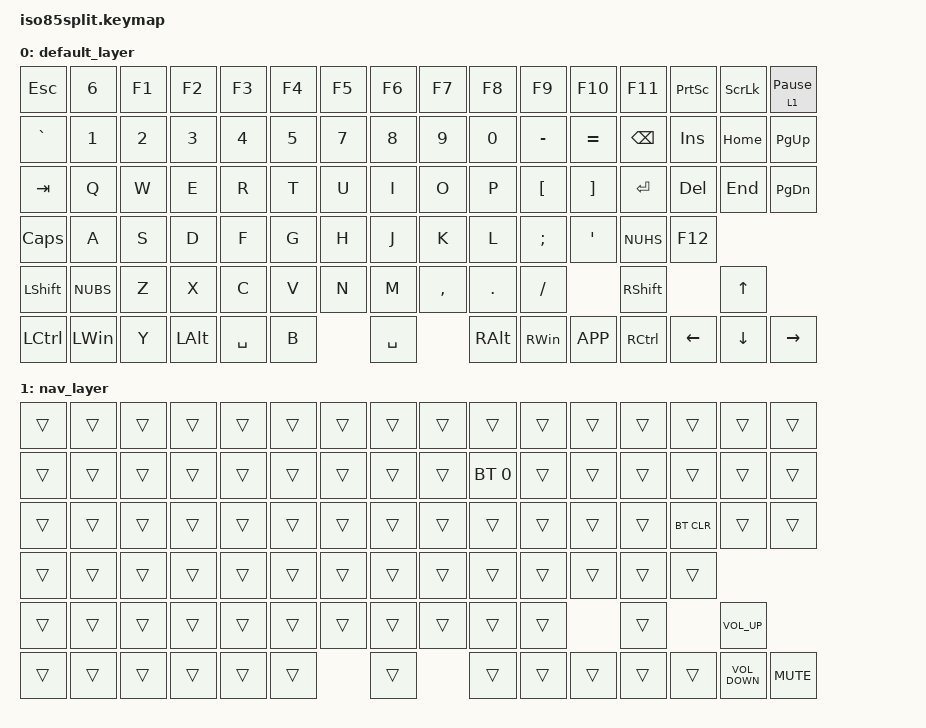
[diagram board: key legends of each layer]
#include <behaviors.dtsi>
#include <dt-bindings/zmk/bt.h>
#include <dt-bindings/zmk/keys.h>

&lt { tapping-term-ms = <500>; };

/ {
    keymap {
        compatible = "zmk,keymap";

        default_layer {
            bindings = <
&kp ESC           &kp NUMBER_6  &kp F1        &kp F2        &kp F3        &kp F4          &kp F5        &kp F6        &kp F7        &kp F8         &kp F9            &kp F10            &kp F11            &kp PRINTSCREEN  &kp SCROLLLOCK  &lt 1 PAUSE_BREAK
&kp GRAVE         &kp NUMBER_1  &kp NUMBER_2  &kp NUMBER_3  &kp NUMBER_4  &kp NUMBER_5    &kp NUMBER_7  &kp NUMBER_8  &kp NUMBER_9  &kp NUMBER_0   &kp MINUS         &kp EQUAL          &kp BSPC           &kp INS          &kp HOME        &kp PG_UP
&kp TAB           &kp Q         &kp W         &kp E         &kp R         &kp T           &kp U         &kp I         &kp O         &kp P          &kp LEFT_BRACKET  &kp RIGHT_BRACKET  &kp ENTER          &kp DEL          &kp END         &kp PG_DN
&kp CAPS          &kp A         &kp S         &kp D         &kp F         &kp G           &kp H         &kp J         &kp K         &kp L          &kp SEMICOLON     &kp SINGLE_QUOTE   &kp NUHS           &kp F12
&kp LEFT_SHIFT    &kp NUBS      &kp Z         &kp X         &kp C         &kp V           &kp N         &kp M         &kp COMMA     &kp DOT        &kp SLASH                            &kp RSHFT                           &kp UP
&kp LEFT_CONTROL  &kp LWIN      &kp Y         &kp LEFT_ALT  &kp SPACE     &kp B                         &kp SPACE                   &kp RIGHT_ALT  &kp RWIN          &kp K_APP          &kp RIGHT_CONTROL  &kp LEFT         &kp DOWN        &kp RIGHT
            >;
        };

        nav_layer {
            bindings = <
&trans  &trans  &trans  &trans  &trans  &trans    &trans  &trans  &trans  &trans        &trans  &trans  &trans  &trans      &trans             &trans
&trans  &trans  &trans  &trans  &trans  &trans    &trans  &trans  &trans  &bt BT_SEL 0  &trans  &trans  &trans  &trans      &trans             &trans
&trans  &trans  &trans  &trans  &trans  &trans    &trans  &trans  &trans  &trans        &trans  &trans  &trans  &bt BT_CLR  &trans             &trans
&trans  &trans  &trans  &trans  &trans  &trans    &trans  &trans  &trans  &trans        &trans  &trans  &trans  &trans
&trans  &trans  &trans  &trans  &trans  &trans    &trans  &trans  &trans  &trans        &trans          &trans              &kp C_VOLUME_UP
&trans  &trans  &trans  &trans  &trans  &trans            &trans          &trans        &trans  &trans  &trans  &trans      &kp C_VOLUME_DOWN  &kp C_MUTE
            >;
        };
    };
};
